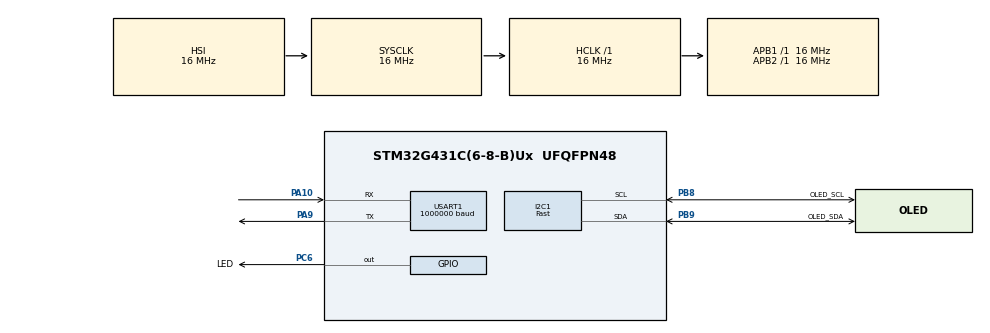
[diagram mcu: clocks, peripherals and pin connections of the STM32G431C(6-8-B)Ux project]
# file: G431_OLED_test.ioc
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I2C1.I2C_Speed_Mode=I2C_Fast
I2C1.Timing=0x00300617
Mcu.Family=STM32G4
Mcu.Name=STM32G431C(6-8-B)Ux
Mcu.Package=UFQFPN48
NVIC.PriorityGroup=NVIC_PRIORITYGROUP_4
PA10.Mode=Asynchronous
PA10.Signal=USART1_RX
PA13.Mode=Trace_Asynchronous_SW
PA13.Signal=SYS_JTMS-SWDIO
PA14.Mode=Trace_Asynchronous_SW
PA14.Signal=SYS_JTCK-SWCLK
PA9.Mode=Asynchronous
PA9.Signal=USART1_TX
PB3.Mode=Trace_Asynchronous_SW
PB3.Signal=SYS_JTDO-SWO
PB8-BOOT0.GPIO_Label=OLED_SCL
PB8-BOOT0.Mode=I2C
PB8-BOOT0.Signal=I2C1_SCL
PB9.GPIO_Label=OLED_SDA
PB9.Mode=I2C
PB9.Signal=I2C1_SDA
PC6.GPIO_Label=LED
PC6.Signal=GPIO_Output
ProjectManager.HeapSize=0x200
ProjectManager.StackSize=0x400
ProjectManager.TargetToolchain=STM32CubeIDE
RCC.AHBFreq_Value=16000000
RCC.APB1Freq_Value=16000000
RCC.APB1TimFreq_Value=16000000
RCC.APB2Freq_Value=16000000
RCC.APB2TimFreq_Value=16000000
RCC.CortexFreq_Value=16000000
RCC.EXTERNAL_CLOCK_VALUE=12288000
RCC.HCLKFreq_Value=16000000
RCC.HSE_VALUE=8000000
RCC.HSI48_VALUE=48000000
RCC.HSI_VALUE=16000000
RCC.LSE_VALUE=32768
RCC.SYSCLKFreq_VALUE=16000000
RCC.USBFreq_Value=64000000
RCC.VCOOutputFreq_Value=128000000
USART1.BaudRate=1000000
USART1.VirtualMode-Asynchronous=VM_ASYNC
VP_SYS_VS_DBSignals.Mode=DisableDeadBatterySignals
board=custom

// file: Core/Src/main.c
/* USER CODE BEGIN Header */
/**
  ******************************************************************************
  * @file           : main.c
  * @brief          : Main program body
  ******************************************************************************
  * @attention
  *
  * Copyright (c) 2023 STMicroelectronics.
  * All rights reserved.
  *
  * This software is licensed under terms that can be found in the LICENSE file
  * in the root directory of this software component.
  * If no LICENSE file comes with this software, it is provided AS-IS.
  *
  ******************************************************************************
  */
/* USER CODE END Header */
#include "main.h"

/* USER CODE BEGIN Includes */
#include "ssd1306.h"
/* USER CODE END Includes */

I2C_HandleTypeDef hi2c1;

UART_HandleTypeDef huart1;

void SystemClock_Config(void);
static void MX_GPIO_Init(void);
static void MX_USART1_UART_Init(void);
static void MX_I2C1_Init(void);

int main(void)
{

  /* MCU Configuration--------------------------------------------------------*/

  /* Reset of all peripherals, Initializes the Flash interface and the Systick. */
  HAL_Init();

  /* Configure the system clock */
  SystemClock_Config();

  /* Initialize all configured peripherals */
  MX_GPIO_Init();
  MX_USART1_UART_Init();
  MX_I2C1_Init();
  /* USER CODE BEGIN 2 */
  HAL_UART_Transmit(&huart1, (uint8_t*)"G431 Init done!\r\n", 20, 100);

  ssd1306_Init();

  ssd1306_SetCursor(5, 20);
  ssd1306_WriteString("HELLO!", FontStyle_videotype_18, PIXEL_ON);
  ssd1306_Display();
  HAL_Delay(2000);

  /* USER CODE END 2 */

  /* Infinite loop */
  /* USER CODE BEGIN WHILE */
  SSD1306_PixelState_t state = PIXEL_ON;

  uint8_t x = 0, y = 0, dir = 0;

  while (1)
  {
  	if((dir % 2) == 0) {
			ssd1306_DrawHLine(y, state);

			y += 2;
			if(y >= SSD1306_HEIGHT) {
				y = 0;
				dir = (dir + 1) % 2;
			}
  	}
  	else {
  		ssd1306_DrawVLine(x, state);

			x += 2;
			if(x >= SSD1306_WIDTH) {
				x = 0;
				state = (state + 1) % 2;
				dir = (dir + 1) % 2;
			}
  	}

  	ssd1306_Display();
		HAL_Delay(1000);

		HAL_GPIO_TogglePin(LED_GPIO_Port, LED_Pin);
    /* USER CODE END WHILE */

  }
}

void SystemClock_Config(void)
{
  RCC_OscInitTypeDef RCC_OscInitStruct = {0};
  RCC_ClkInitTypeDef RCC_ClkInitStruct = {0};

  /** Configure the main internal regulator output voltage
  */
  HAL_PWREx_ControlVoltageScaling(PWR_REGULATOR_VOLTAGE_SCALE1);

  /** Initializes the RCC Oscillators according to the specified parameters
  * in the RCC_OscInitTypeDef structure.
  */
  RCC_OscInitStruct.OscillatorType = RCC_OSCILLATORTYPE_HSI;
  RCC_OscInitStruct.HSIState = RCC_HSI_ON;
  RCC_OscInitStruct.HSICalibrationValue = RCC_HSICALIBRATION_DEFAULT;
  RCC_OscInitStruct.PLL.PLLState = RCC_PLL_NONE;
  if (HAL_RCC_OscConfig(&RCC_OscInitStruct) != HAL_OK)
  {
    Error_Handler();
  }

  /** Initializes the CPU, AHB and APB buses clocks
  */
  RCC_ClkInitStruct.ClockType = RCC_CLOCKTYPE_HCLK|RCC_CLOCKTYPE_SYSCLK
                              |RCC_CLOCKTYPE_PCLK1|RCC_CLOCKTYPE_PCLK2;
  RCC_ClkInitStruct.SYSCLKSource = RCC_SYSCLKSOURCE_HSI;
  RCC_ClkInitStruct.AHBCLKDivider = RCC_SYSCLK_DIV1;
  RCC_ClkInitStruct.APB1CLKDivider = RCC_HCLK_DIV1;
  RCC_ClkInitStruct.APB2CLKDivider = RCC_HCLK_DIV1;

  if (HAL_RCC_ClockConfig(&RCC_ClkInitStruct, FLASH_LATENCY_0) != HAL_OK)
  {
    Error_Handler();
  }
}

static void MX_I2C1_Init(void)
{

  hi2c1.Instance = I2C1;
  hi2c1.Init.Timing = 0x00300617;
  hi2c1.Init.OwnAddress1 = 0;
  hi2c1.Init.AddressingMode = I2C_ADDRESSINGMODE_7BIT;
  hi2c1.Init.DualAddressMode = I2C_DUALADDRESS_DISABLE;
  hi2c1.Init.OwnAddress2 = 0;
  hi2c1.Init.OwnAddress2Masks = I2C_OA2_NOMASK;
  hi2c1.Init.GeneralCallMode = I2C_GENERALCALL_DISABLE;
  hi2c1.Init.NoStretchMode = I2C_NOSTRETCH_DISABLE;
  if (HAL_I2C_Init(&hi2c1) != HAL_OK)
  {
    Error_Handler();
  }

  /** Configure Analogue filter
  */
  if (HAL_I2CEx_ConfigAnalogFilter(&hi2c1, I2C_ANALOGFILTER_ENABLE) != HAL_OK)
  {
    Error_Handler();
  }

  /** Configure Digital filter
  */
  if (HAL_I2CEx_ConfigDigitalFilter(&hi2c1, 0) != HAL_OK)
  {
    Error_Handler();
  }

}

static void MX_USART1_UART_Init(void)
{

  huart1.Instance = USART1;
  huart1.Init.BaudRate = 1000000;
  huart1.Init.WordLength = UART_WORDLENGTH_8B;
  huart1.Init.StopBits = UART_STOPBITS_1;
  huart1.Init.Parity = UART_PARITY_NONE;
  huart1.Init.Mode = UART_MODE_TX_RX;
  huart1.Init.HwFlowCtl = UART_HWCONTROL_NONE;
  huart1.Init.OverSampling = UART_OVERSAMPLING_16;
  huart1.Init.OneBitSampling = UART_ONE_BIT_SAMPLE_DISABLE;
  huart1.Init.ClockPrescaler = UART_PRESCALER_DIV1;
  huart1.AdvancedInit.AdvFeatureInit = UART_ADVFEATURE_NO_INIT;
  if (HAL_UART_Init(&huart1) != HAL_OK)
  {
    Error_Handler();
  }
  if (HAL_UARTEx_SetTxFifoThreshold(&huart1, UART_TXFIFO_THRESHOLD_1_8) != HAL_OK)
  {
    Error_Handler();
  }
  if (HAL_UARTEx_SetRxFifoThreshold(&huart1, UART_RXFIFO_THRESHOLD_1_8) != HAL_OK)
  {
    Error_Handler();
  }
  if (HAL_UARTEx_DisableFifoMode(&huart1) != HAL_OK)
  {
    Error_Handler();
  }

}

static void MX_GPIO_Init(void)
{
  GPIO_InitTypeDef GPIO_InitStruct = {0};

  /* GPIO Ports Clock Enable */
  __HAL_RCC_GPIOC_CLK_ENABLE();
  __HAL_RCC_GPIOA_CLK_ENABLE();
  __HAL_RCC_GPIOB_CLK_ENABLE();

  /*Configure GPIO pin Output Level */
  HAL_GPIO_WritePin(LED_GPIO_Port, LED_Pin, GPIO_PIN_RESET);

  /*Configure GPIO pin : LED_Pin */
  GPIO_InitStruct.Pin = LED_Pin;
  GPIO_InitStruct.Mode = GPIO_MODE_OUTPUT_PP;
  GPIO_InitStruct.Pull = GPIO_NOPULL;
  GPIO_InitStruct.Speed = GPIO_SPEED_FREQ_LOW;
  HAL_GPIO_Init(LED_GPIO_Port, &GPIO_InitStruct);

}

void Error_Handler(void)
{
  __disable_irq();
  while (1)
  {
  }
}
